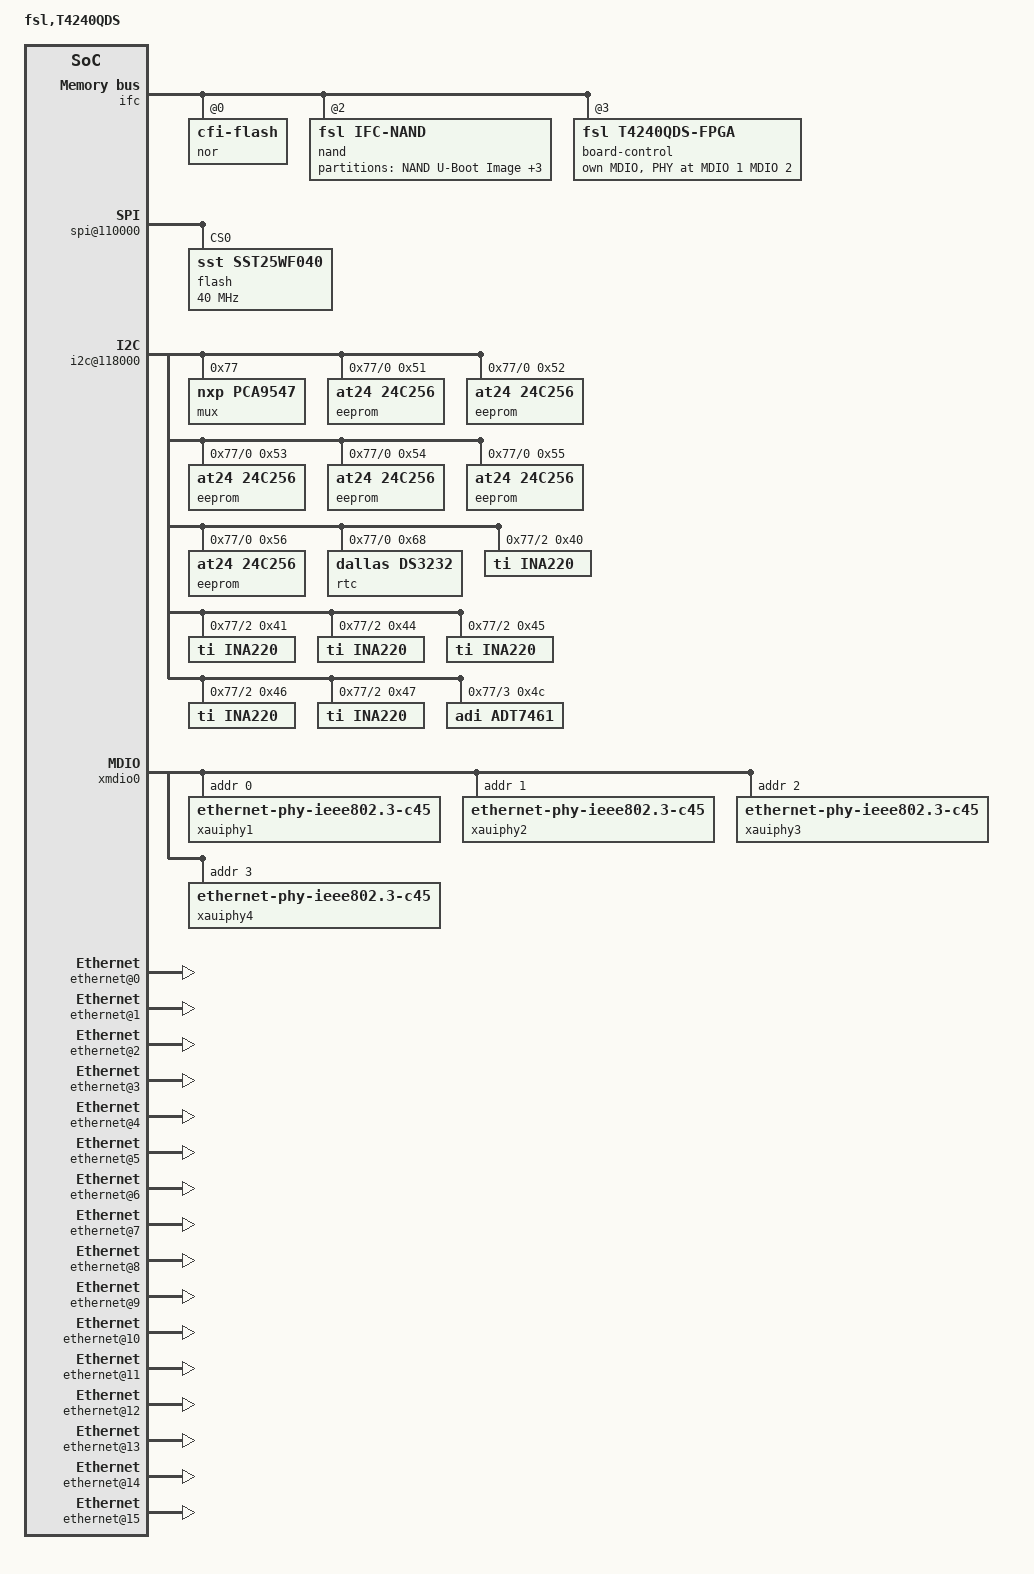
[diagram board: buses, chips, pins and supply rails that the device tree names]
/*
 * T4240QDS Device Tree Source
 *
 * Copyright 2012 - 2014 Freescale Semiconductor Inc.
 *
 * Redistribution and use in source and binary forms, with or without
 * modification, are permitted provided that the following conditions are met:
 *     * Redistributions of source code must retain the above copyright
 *       notice, this list of conditions and the following disclaimer.
 *     * Redistributions in binary form must reproduce the above copyright
 *       notice, this list of conditions and the following disclaimer in the
 *       documentation and/or other materials provided with the distribution.
 *     * Neither the name of Freescale Semiconductor nor the
 *       names of its contributors may be used to endorse or promote products
 *       derived from this software without specific prior written permission.
 *
 *
 * ALTERNATIVELY, this software may be distributed under the terms of the
 * GNU General Public License ("GPL") as published by the Free Software
 * Foundation, either version 2 of that License or (at your option) any
 * later version.
 *
 * THIS SOFTWARE IS PROVIDED BY Freescale Semiconductor ``AS IS'' AND ANY
 * EXPRESS OR IMPLIED WARRANTIES, INCLUDING, BUT NOT LIMITED TO, THE IMPLIED
 * WARRANTIES OF MERCHANTABILITY AND FITNESS FOR A PARTICULAR PURPOSE ARE
 * DISCLAIMED. IN NO EVENT SHALL Freescale Semiconductor BE LIABLE FOR ANY
 * DIRECT, INDIRECT, INCIDENTAL, SPECIAL, EXEMPLARY, OR CONSEQUENTIAL DAMAGES
 * (INCLUDING, BUT NOT LIMITED TO, PROCUREMENT OF SUBSTITUTE GOODS OR SERVICES;
 * LOSS OF USE, DATA, OR PROFITS; OR BUSINESS INTERRUPTION) HOWEVER CAUSED AND
 * ON ANY THEORY OF LIABILITY, WHETHER IN CONTRACT, STRICT LIABILITY, OR TORT
 * (INCLUDING NEGLIGENCE OR OTHERWISE) ARISING IN ANY WAY OUT OF THE USE OF THIS
 * SOFTWARE, EVEN IF ADVISED OF THE POSSIBILITY OF SUCH DAMAGE.
 */

/include/ "t4240si-pre.dtsi"

/ {
	model = "fsl,T4240QDS";
	compatible = "fsl,T4240QDS";
	#address-cells = <2>;
	#size-cells = <2>;
	interrupt-parent = <&mpic>;

	aliases {
		phy_rgmii1 = &phyrgmii1;
		phy_rgmii2 = &phyrgmii2;
		phy_sgmii3 = &phy3;
		phy_sgmii4 = &phy4;
		phy_sgmii11 = &phy11;
		phy_sgmii12 = &phy12;
		sgmii_phy11 = &sgmiiphy11;
		sgmii_phy12 = &sgmiiphy12;
		sgmii_phy13 = &sgmiiphy13;
		sgmii_phy14 = &sgmiiphy14;
		sgmii_phy21 = &sgmiiphy21;
		sgmii_phy22 = &sgmiiphy22;
		sgmii_phy23 = &sgmiiphy23;
		sgmii_phy24 = &sgmiiphy24;
		sgmii_phy31 = &sgmiiphy31;
		sgmii_phy32 = &sgmiiphy32;
		sgmii_phy33 = &sgmiiphy33;
		sgmii_phy34 = &sgmiiphy34;
		sgmii_phy41 = &sgmiiphy41;
		sgmii_phy42 = &sgmiiphy42;
		sgmii_phy43 = &sgmiiphy43;
		sgmii_phy44 = &sgmiiphy44;
		phy_xfi1 = &xfiphy1;
		phy_xfi2 = &xfiphy2;
		phy_xfi3 = &xfiphy3;
		phy_xfi4 = &xfiphy4;
		xfi_pcs_mdio1 = &xfimdio0;
		xfi_pcs_mdio2 = &xfimdio1;
		xfi_pcs_mdio3 = &xfimdio2;
		xfi_pcs_mdio4 = &xfimdio3;
		emi1_rgmii = &t4240mdio0;
		emi1_slot1 = &t4240mdio1;
		emi1_slot2 = &t4240mdio2;
		emi1_slot3 = &t4240mdio3;
		emi1_slot4 = &t4240mdio4;
	};

	ifc: localbus@ffe124000 {
		reg = <0xf 0xfe124000 0 0x2000>;
		ranges = <0 0 0xf 0xe8000000 0x08000000
			  2 0 0xf 0xff800000 0x00010000
			  3 0 0xf 0xffdf0000 0x00008000>;

		nor@0,0 {
			#address-cells = <1>;
			#size-cells = <1>;
			compatible = "cfi-flash";
			reg = <0x0 0x0 0x8000000>;

			bank-width = <2>;
			device-width = <1>;
		};

		nand@2,0 {
			#address-cells = <1>;
			#size-cells = <1>;
			compatible = "fsl,ifc-nand";
			reg = <0x2 0x0 0x10000>;

			partition@0 {
				/* This location must not be altered  */
				/* 1MB for u-boot Bootloader Image */
				reg = <0x0 0x00100000>;
				label = "NAND U-Boot Image";
				read-only;
			};

			partition@100000 {
				/* 1MB for DTB Image */
				reg = <0x00100000 0x00100000>;
				label = "NAND DTB Image";
			};

			partition@200000 {
				/* 10MB for Linux Kernel Image */
				reg = <0x00200000 0x00A00000>;
				label = "NAND Linux Kernel Image";
			};

			partition@C00000 {
				/* 500MB for Root file System Image */
				reg = <0x00c00000 0x1F400000>;
				label = "NAND RFS Image";
			};
		};

		board-control@3,0 {
			#address-cells = <1>;
			#size-cells = <1>;
			compatible = "fsl,t4240qds-fpga", "fsl,fpga-qixis";
			reg = <3 0 0x300>;
			ranges = <0 3 0 0x300>;

			mdio-mux-emi1 {
				compatible = "mdio-mux-mmioreg", "mdio-mux";
				mdio-parent-bus = <&mdio0>;
				#address-cells = <1>;
				#size-cells = <0>;
				reg = <0x54 1>; // BRDCFG1
				mux-mask = <0xe0>; // EMI1

				/* Onboard PHYs */
				t4240mdio0: mdio@0 {
					reg = <0>;
					#address-cells = <1>;
					#size-cells = <0>;

					phyrgmii1: ethernet-phy@1 { /* FM2.5 */
						reg = <0x1>;
					};
					phyrgmii2: ethernet-phy@2 { /* FM1.5 */
						reg = <0x2>;
					};
				};

				/* Slot 1 */
				t4240mdio1: mdio@20 {
					reg = <0x20>;
					#address-cells = <1>;
					#size-cells = <0>;
					status = "disabled";

					phy1: ethernet-phy@0 {
						reg = <0x0>;
					};
					phy2: ethernet-phy@1 {
						reg = <0x1>;
					};
					phy3: ethernet-phy@2 {
						reg = <0x2>;
					};
					phy4: ethernet-phy@3 {
						reg = <0x3>;
					};
					sgmiiphy11: ethernet-phy@1c {
						reg = <0x1c>;
					};
					sgmiiphy12: ethernet-phy@1d {
						reg = <0x1d>;
					};
					sgmiiphy13: ethernet-phy@1e {
						reg = <0x1e>;
					};
					sgmiiphy14: ethernet-phy@1f {
						reg = <0x1f>;
					};
				};

				/* Slot 2 */
				t4240mdio2: mdio@40 {
					reg = <0x40>;
					#address-cells = <1>;
					#size-cells = <0>;
					status = "disabled";

					phy5: ethernet-phy@4 {
						reg = <0x4>;
					};
					phy6: ethernet-phy@5 {
						reg = <0x5>;
					};
					phy7: ethernet-phy@6 {
						reg = <0x6>;
					};
					phy8: ethernet-phy@7 {
						reg = <0x7>;
					};
					sgmiiphy21: ethernet-phy@1c {
						reg = <0x1c>;
					};
					sgmiiphy22: ethernet-phy@1d {
						reg = <0x1d>;
					};
					sgmiiphy23: ethernet-phy@1e {
						reg = <0x1e>;
					};
					sgmiiphy24: ethernet-phy@1f {
						reg = <0x1f>;
					};
				};

				/* Slot 3 */
				t4240mdio3: mdio@60 {
					reg = <0x60>;
					#address-cells = <1>;
					#size-cells = <0>;
					status = "disabled";

					phy9: ethernet-phy@8 {
						reg = <0x8>;
					};
					phy10: ethernet-phy@9 {
						reg = <0x9>;
					};
					phy11: ethernet-phy@a {
						reg = <0xa>;
					};
					phy12: ethernet-phy@b {
						reg = <0xb>;
					};
					sgmiiphy31: ethernet-phy@1c {
						reg = <0x1c>;
					};
					sgmiiphy32: ethernet-phy@1d {
						reg = <0x1d>;
					};
					sgmiiphy33: ethernet-phy@1e {
						reg = <0x1e>;
					};
					sgmiiphy34: ethernet-phy@1f {
						reg = <0x1f>;
					};
				};

				t4240mdio4: mdio@80 {
					reg = <0x80>;
					#address-cells = <1>;
					#size-cells = <0>;
					status = "disabled";

					phy13: ethernet-phy@c {
						reg = <0xc>;
					};
					phy14: ethernet-phy@d {
						reg = <0xd>;
					};
					phy15: ethernet-phy@e {
						reg = <0xe>;
					};
					phy16: ethernet-phy@f {
						reg = <0xf>;
						};
					sgmiiphy41: ethernet-phy@1c {
						reg = <0x1c>;
					};
					sgmiiphy42: ethernet-phy@1d {
						reg = <0x1d>;
					};
					sgmiiphy43: ethernet-phy@1e {
						reg = <0x1e>;
					};
					sgmiiphy44: ethernet-phy@1f {
						reg = <0x1f>;
					};
				};
			};
		};
	};

	memory {
		device_type = "memory";
	};

	reserved-memory {
		#address-cells = <2>;
		#size-cells = <2>;
		ranges;

		bman_fbpr: bman-fbpr {
			size = <0 0x1000000>;
			alignment = <0 0x1000000>;
		};
		qman_fqd: qman-fqd {
			size = <0 0x800000>;
			alignment = <0 0x800000>;
		};
		qman_pfdr: qman-pfdr {
			size = <0 0x2000000>;
			alignment = <0 0x2000000>;
		};
		pme_pdsr: pme-pdsr {
			compatible = "fsl,pme-pdsr";
			alloc-ranges = <0 0 0x10000 0>;
			size = <0 0x1000000>;
			alignment = <0 0x1000000>;
		};
		pme_sre: pme-sre {
			 compatible = "fsl,pme-sre";
			 alloc-ranges = <0 0 0x10000 0>;
			 size = <0 0xa00000>;
			 alignment = <0 0xa00000>;
		};
	};

	dcsr: dcsr@f00000000 {
		ranges = <0x00000000 0xf 0x00000000 0x01072000>;
	};

	bportals: bman-portals@ff4000000 {
		ranges = <0x0 0xf 0xf4000000 0x2000000>;
	};

	qportals: qman-portals@ff6000000 {
		ranges = <0x0 0xf 0xf6000000 0x2000000>;
	};

	lportals: lac-portals@ff8000000 {
		ranges = <0x0 0xf 0xf8000000 0x20000>;
	};

	soc: soc@ffe000000 {
		ranges = <0x00000000 0xf 0xfe000000 0x1000000>;
		reg = <0xf 0xfe000000 0 0x00001000>;
		spi@110000 {
			flash@0 {
				#address-cells = <1>;
				#size-cells = <1>;
				compatible = "sst,sst25wf040", "jedec,spi-nor";
				reg = <0>;
				spi-max-frequency = <40000000>; /* input clock */
			};
		};

		i2c@118000 {
			mux@77 {
				compatible = "nxp,pca9547";
				reg = <0x77>;
				#address-cells = <1>;
				#size-cells = <0>;

				i2c@0 {
					#address-cells = <1>;
					#size-cells = <0>;
					reg = <0>;

					eeprom@51 {
						compatible = "at24,24c256";
						reg = <0x51>;
					};
					eeprom@52 {
						compatible = "at24,24c256";
						reg = <0x52>;
					};
					eeprom@53 {
						compatible = "at24,24c256";
						reg = <0x53>;
					};
					eeprom@54 {
						compatible = "at24,24c256";
						reg = <0x54>;
					};
					eeprom@55 {
						compatible = "at24,24c256";
						reg = <0x55>;
					};
					eeprom@56 {
						compatible = "at24,24c256";
						reg = <0x56>;
					};
					rtc@68 {
						compatible = "dallas,ds3232";
						reg = <0x68>;
						interrupts = <0x1 0x1 0 0>;
					};
				};

				i2c@2 {
					#address-cells = <1>;
					#size-cells = <0>;
					reg = <0x2>;

					ina220@40 {
						compatible = "ti,ina220";
						reg = <0x40>;
						shunt-resistor = <1000>;
					};

					ina220@41 {
						compatible = "ti,ina220";
						reg = <0x41>;
						shunt-resistor = <1000>;
					};

					ina220@44 {
						compatible = "ti,ina220";
						reg = <0x44>;
						shunt-resistor = <1000>;
					};

					ina220@45 {
						compatible = "ti,ina220";
						reg = <0x45>;
						shunt-resistor = <1000>;
					};

					ina220@46 {
						compatible = "ti,ina220";
						reg = <0x46>;
						shunt-resistor = <1000>;
					};

					ina220@47 {
						compatible = "ti,ina220";
						reg = <0x47>;
						shunt-resistor = <1000>;
					};
				};

				i2c@3 {
					#address-cells = <1>;
					#size-cells = <0>;
					reg = <0x3>;

					/*
					 * Should be ADT7481.
					 * Now kernel only supports ADT7461.
					 */
					adt7461@4c {
						compatible = "adi,adt7461";
						reg = <0x4c>;
					};
				};
			};
		};

		fman0: fman@400000 {
			enet0: ethernet@e0000 {
				phy-handle = <&phy5>;
				phy-connection-type = "sgmii";
			};

			enet1: ethernet@e2000 {
				phy-handle = <&phy6>;
				phy-connection-type = "sgmii";
			};

			enet2: ethernet@e4000 {
				phy-handle = <&phy7>;
				phy-connection-type = "sgmii";
			};

			enet3: ethernet@e6000 {
				phy-handle = <&phy8>;
				phy-connection-type = "sgmii";
			};

			enet4: ethernet@e8000 {
				phy-handle = <&phyrgmii2>;
				phy-connection-type = "rgmii";
			};

			enet5: ethernet@ea000 {
				phy-handle = <&phy2>;
				phy-connection-type = "sgmii";
			};

			enet6: ethernet@f0000 { /* FM1@TSEC9/FM1@TGEC1 */
				phy-handle = <&xauiphy1>;
				phy-connection-type = "xgmii";
			};

			enet7: ethernet@f2000 { /* FM1@TSEC10/FM1@TGEC2 */
				phy-handle = <&xauiphy2>;
				phy-connection-type = "xgmii";
			};

			xfimdio0: mdio@f1000 {
				status = "disabled";
				xfiphy1: ethernet-phy@0 {
					compatible = "ethernet-phy-ieee802.3-c45";
					lane-instance = "serdes-2,lane-a";
					reg = <0x0>;
				};
			};

			xfimdio1: mdio@f3000 {
				status = "disabled";
				xfiphy2: ethernet-phy@0 {
					compatible = "ethernet-phy-ieee802.3-c45";
					lane-instance = "serdes-2,lane-b";
					reg = <0x0>;
				};
			};

			mdio@fc000 {
				status = "disabled";
			};

			mdio@fd000 {
				status = "disabled";
			};

			fman0_oh2 {
				status = "disabled";
			};
			fman0_oh3 {
				status = "disabled";
			};
			fman0_oh4 {
				status = "disabled";
			};
			fman0_oh5 {
				status = "disabled";
			};
			fman0_oh6 {
				status = "disabled";
			};
		};

		fman1: fman@500000 {
			enet8: ethernet@e0000 {
				phy-handle = <&phy13>;
				phy-connection-type = "sgmii";
			};

			enet9: ethernet@e2000 {
				phy-handle = <&phy14>;
				phy-connection-type = "sgmii";
			};

			enet10: ethernet@e4000 {
				phy-handle = <&phy15>;
				phy-connection-type = "sgmii";
			};

			enet11: ethernet@e6000 {
				phy-handle = <&phy16>;
				phy-connection-type = "sgmii";
			};

			enet12: ethernet@e8000 {
				phy-handle = <&phyrgmii1>;
				phy-connection-type = "rgmii";
			};

			enet13: ethernet@ea000 {
				phy-handle = <&phy10>;
				phy-connection-type = "sgmii";
			};

			enet14: ethernet@f0000 { /* FM2@TSEC9/FM2@TGEC1 */
				phy-handle = <&xauiphy3>;
				phy-connection-type = "xgmii";
			};

			enet15: ethernet@f2000 { /* FM2@TSEC10/FM2@TGEC2 */
				phy-handle = <&xauiphy4>;
				phy-connection-type = "xgmii";
			};

			xfimdio2: mdio@f1000 {
				status = "disabled";
				xfiphy3: ethernet-phy@0 {
					compatible = "ethernet-phy-ieee802.3-c45";
					lane-instance = "serdes-2,lane-d";
					reg = <0x0>;
				};
			};

			xfimdio3: mdio@f3000 {
				status = "disabled";
				xfiphy4: ethernet-phy@0 {
					compatible = "ethernet-phy-ieee802.3-c45";
					lane-instance = "serdes-2,lane-c";
					reg = <0x0>;
				};
			};

			mdio0: mdio@fc000 {
			};

			xmdio0: mdio@fd000 {
				xauiphy1: ethernet-phy@0 {
					compatible = "ethernet-phy-ieee802.3-c45";
					reg = <0x0>;
				};

				xauiphy2: ethernet-phy@1 {
					compatible = "ethernet-phy-ieee802.3-c45";
					reg = <0x1>;
				};

				xauiphy3: ethernet-phy@2 {
					compatible = "ethernet-phy-ieee802.3-c45";
					reg = <0x2>;
				};

				xauiphy4: ethernet-phy@3 {
					compatible = "ethernet-phy-ieee802.3-c45";
					reg = <0x3>;
				};
			};

			fman1_oh3 {
				status = "disabled";
			};
			fman1_oh4 {
				status = "disabled";
			};
			fman1_oh5 {
				status = "disabled";
			};
			fman1_oh6 {
				status = "disabled";
			};
		};

		sdhc@114000 {
			voltage-ranges = <1800 1800 3300 3300>;
		};
	};

	pci0: pcie@ffe240000 {
		reg = <0xf 0xfe240000 0 0x10000>;
		ranges = <0x02000000 0 0xe0000000 0xc 0x00000000 0x0 0x20000000
			  0x01000000 0 0x00000000 0xf 0xf8000000 0x0 0x00010000>;
		pcie@0 {
			ranges = <0x02000000 0 0xe0000000
				  0x02000000 0 0xe0000000
				  0 0x20000000

				  0x01000000 0 0x00000000
				  0x01000000 0 0x00000000
				  0 0x00010000>;
		};
	};

	pci1: pcie@ffe250000 {
		reg = <0xf 0xfe250000 0 0x10000>;
		ranges = <0x02000000 0x0 0xe0000000 0xc 0x20000000 0x0 0x20000000
			  0x01000000 0x0 0x00000000 0xf 0xf8010000 0x0 0x00010000>;
		pcie@0 {
			ranges = <0x02000000 0 0xe0000000
				  0x02000000 0 0xe0000000
				  0 0x20000000

				  0x01000000 0 0x00000000
				  0x01000000 0 0x00000000
				  0 0x00010000>;
		};
	};

	pci2: pcie@ffe260000 {
		reg = <0xf 0xfe260000 0 0x1000>;
		ranges = <0x02000000 0 0xe0000000 0xc 0x40000000 0 0x20000000
			  0x01000000 0 0x00000000 0xf 0xf8020000 0 0x00010000>;
		pcie@0 {
			ranges = <0x02000000 0 0xe0000000
				  0x02000000 0 0xe0000000
				  0 0x20000000

				  0x01000000 0 0x00000000
				  0x01000000 0 0x00000000
				  0 0x00010000>;
		};
	};

	pci3: pcie@ffe270000 {
		reg = <0xf 0xfe270000 0 0x10000>;
		ranges = <0x02000000 0 0xe0000000 0xc 0x60000000 0 0x20000000
			  0x01000000 0 0x00000000 0xf 0xf8030000 0 0x00010000>;
		pcie@0 {
			ranges = <0x02000000 0 0xe0000000
				  0x02000000 0 0xe0000000
				  0 0x20000000

				  0x01000000 0 0x00000000
				  0x01000000 0 0x00000000
				  0 0x00010000>;
		};
	};
	rio: rapidio@ffe0c0000 {
		reg = <0xf 0xfe0c0000 0 0x11000>;

		port1 {
			ranges = <0 0 0xc 0x20000000 0 0x10000000>;
		};
		port2 {
			ranges = <0 0 0xc 0x30000000 0 0x10000000>;
		};
	};

	fsl,dpaa {
		compatible = "fsl,t4240-dpaa", "fsl,dpaa";
		ethernet@0 {
			compatible = "fsl,t4240-dpa-ethernet", "fsl,dpa-ethernet";
			fsl,fman-mac = <&enet0>;
		};
		ethernet@1 {
			compatible = "fsl,t4240-dpa-ethernet", "fsl,dpa-ethernet";
			fsl,fman-mac = <&enet1>;
		};
		ethernet@2 {
			compatible = "fsl,t4240-dpa-ethernet", "fsl,dpa-ethernet";
			fsl,fman-mac = <&enet2>;
		};
		ethernet@3 {
			compatible = "fsl,t4240-dpa-ethernet", "fsl,dpa-ethernet";
			fsl,fman-mac = <&enet3>;
		};
		ethernet@4 {
			compatible = "fsl,t4240-dpa-ethernet", "fsl,dpa-ethernet";
			fsl,fman-mac = <&enet4>;
		};
		ethernet@5 {
			compatible = "fsl,t4240-dpa-ethernet", "fsl,dpa-ethernet";
			fsl,fman-mac = <&enet5>;
		};
		ethernet@6 {
			compatible = "fsl,t4240-dpa-ethernet", "fsl,dpa-ethernet";
			fsl,fman-mac = <&enet6>;
		};
		ethernet@7 {
			compatible = "fsl,t4240-dpa-ethernet", "fsl,dpa-ethernet";
			fsl,fman-mac = <&enet7>;
		};
		ethernet@8 {
			compatible = "fsl,t4240-dpa-ethernet", "fsl,dpa-ethernet";
			fsl,fman-mac = <&enet8>;
		};
		ethernet@9 {
			compatible = "fsl,t4240-dpa-ethernet", "fsl,dpa-ethernet";
			fsl,fman-mac = <&enet9>;
		};
		ethernet@10 {
			compatible = "fsl,t4240-dpa-ethernet", "fsl,dpa-ethernet";
			fsl,fman-mac = <&enet10>;
		};
		ethernet@11 {
			compatible = "fsl,t4240-dpa-ethernet", "fsl,dpa-ethernet";
			fsl,fman-mac = <&enet11>;
		};
		ethernet@12 {
			compatible = "fsl,t4240-dpa-ethernet", "fsl,dpa-ethernet";
			fsl,fman-mac = <&enet12>;
		};
		ethernet@13 {
			compatible = "fsl,t4240-dpa-ethernet", "fsl,dpa-ethernet";
			fsl,fman-mac = <&enet13>;
		};
		ethernet@14 {
			compatible = "fsl,t4240-dpa-ethernet", "fsl,dpa-ethernet";
			fsl,fman-mac = <&enet14>;
		};
		ethernet@15 {
			compatible = "fsl,t4240-dpa-ethernet", "fsl,dpa-ethernet";
			fsl,fman-mac = <&enet15>;
		};
	};
};

/include/ "t4240si-post.dtsi"
/include/ "qoriq-dpaa-res3.dtsi"
/include/ "qoriq-qman-ceetm0.dtsi"
/include/ "qoriq-qman-ceetm1.dtsi"
